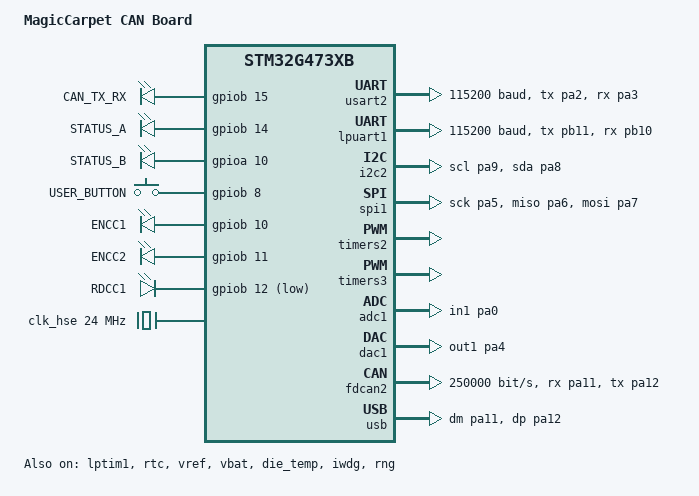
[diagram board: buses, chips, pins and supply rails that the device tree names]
/*
 * Copyright 2021 The Chromium OS Authors
 *
 * SPDX-License-Identifier: Apache-2.0
 */

/dts-v1/;
#include <st/g4/stm32g473Xb.dtsi>
#include <st/g4/stm32g473c(b-c-e)tx-pinctrl.dtsi>
#include <zephyr/dt-bindings/input/input-event-codes.h>

/ {
	model = "MagicCarpet CAN Board";
	compatible = "st,stm32g473c,magiccarpet-can";

	chosen {
		zephyr,console = &lpuart1;
		zephyr,shell-uart = &lpuart1;
		zephyr,sram = &sram0;
		zephyr,flash = &flash0;
		zephyr,canbus = &fdcan2;
	};

	leds {
		compatible = "gpio-leds";
		orange_led: led_0 {
			gpios = <&gpiob 15 GPIO_ACTIVE_HIGH>;
			label = "CAN_TX_RX";
		};
		green_led_1: led_1 {
			gpios = <&gpiob 14 GPIO_ACTIVE_HIGH>;
			label = "STATUS_A";
		};
		green_led_2: led_2 {
			gpios = <&gpioa 10 GPIO_ACTIVE_HIGH>;
			label = "STATUS_B";
		};
	};

	gpio_keys {
		compatible = "gpio-keys";
		user_button: button_0 {
			label = "USER_BUTTON";
			gpios = <&gpiob 8 (GPIO_ACTIVE_HIGH | GPIO_PULL_DOWN)>;
			zephyr,code = <INPUT_KEY_0>;
		};
	};

	cc_config {
		compatible = "gpio-leds";
		encc1 {
			gpios = <&gpiob 10 GPIO_ACTIVE_HIGH>;
			label = "ENCC1";
		};

		encc2 {
			gpios = <&gpiob 11 GPIO_ACTIVE_HIGH>;
			label = "ENCC2";
		};

		rdcc1 {
			gpios = <&gpiob 12 GPIO_ACTIVE_LOW>;
			label = "RDCC1";
		};
	};

	aliases {
		led0 = &orange_led;
		led1 = &green_led_1;
		led2 = &green_led_2;
		sw0 = &user_button;
		watchdog0 = &iwdg;
	};
};

&clk_lsi {
	status = "okay";
};

&clk_hsi {
	status = "okay";
};

&clk_hsi48 {
	status = "okay";
};

&clk_hse {
	clock-frequency = <DT_FREQ_M(24)>;
	status = "okay";
};

&pll {
	div-m = <6>;
	mul-n = <85>;
	div-p = <2>;
	div-q = <2>;
	div-r = <2>;
	clocks = <&clk_hsi>;
	status = "okay";
};

&rcc {
	clocks = <&pll>;
	clock-frequency = <DT_FREQ_M(170)>;
	ahb-prescaler = <1>;
	apb1-prescaler = <1>;
	apb2-prescaler = <1>;
};

&flash0 {
	partitions {
		compatible = "fixed-partitions";
		#address-cells = <1>;
		#size-cells = <1>;

		/* Set 4Kb of storage at the end of the 128Kb of flash */
		storage_partition: partition@1f000 {
			label = "storage";
			reg = <0x0001f000 DT_SIZE_K(4)>;
		};
	};
};

&usart2 {
	pinctrl-0 = <&usart2_tx_pa2 &usart2_rx_pa3>;
	pinctrl-names = "default";
	current-speed = <115200>;
	status = "okay";
};

&lpuart1 {
	pinctrl-0 = <&lpuart1_tx_pb11 &lpuart1_rx_pb10>;
	pinctrl-names = "default";
	current-speed = <115200>;
	status = "okay";
};

&i2c2 {
	pinctrl-0 = <&i2c2_scl_pa9 &i2c2_sda_pa8>;
	pinctrl-names = "default";
	status = "okay";
};

&spi1 {
	pinctrl-0 = <&spi1_sck_pa5 &spi1_miso_pa6 &spi1_mosi_pa7>;
	pinctrl-names = "default";
	cs-gpios = <&gpioa 0 (GPIO_ACTIVE_LOW | GPIO_PULL_UP)>;
	status = "okay";
};

&timers2 {
	status = "okay";

	pwm2: pwm {
		status = "okay";
		pinctrl-0 = <&tim2_ch1_pa15>;
		pinctrl-names = "default";
	};
};

&timers3 {
	st,prescaler = <10000>;
	status = "okay";
	pwm3: pwm {
		status = "okay";
		pinctrl-0 = <&tim3_ch1_pb4>;
		pinctrl-names = "default";
	};
};

stm32_lp_tick_source: &lptim1 {
	clocks = <&rcc STM32_CLOCK_BUS_APB1 0x80000000>,
		<&rcc STM32_SRC_LSI LPTIM1_SEL(1)>;
	status = "okay";
};

&rtc {
	clocks = <&rcc STM32_CLOCK_BUS_APB1 0x00000400>,
		 <&rcc STM32_SRC_LSI RTC_SEL(2)>;
	status = "okay";
};

&adc1 {
	pinctrl-0 = <&adc1_in1_pa0>;
	pinctrl-names = "default";
	st,adc-clock-source = <SYNC>;
	st,adc-prescaler = <4>;
	status = "okay";
};

&dac1 {
	pinctrl-0 = <&dac1_out1_pa4>;
	pinctrl-names = "default";
	status = "okay";
};

&fdcan2 {
	clocks = <&rcc STM32_CLOCK_BUS_APB1 0x02000000>,
		 <&rcc STM32_SRC_HSE FDCAN_SEL(0)>;
	pinctrl-0 = <&fdcan1_rx_pa11 &fdcan1_tx_pa12>;
	pinctrl-names = "default";
	bus-speed = <250000>;
	bus-speed-data = <1000000>;
	status = "okay";
};

zephyr_udc0: &usb {
        pinctrl-0 = <&usb_dm_pa11 &usb_dp_pa12>;
        pinctrl-names = "default";
        status = "okay";
};

&vref {
	status = "okay";
};

&vbat {
	status = "okay";
};

&die_temp {
	status = "okay";
};

&iwdg {
	status = "okay";
};

&rng {
	status = "okay";
};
